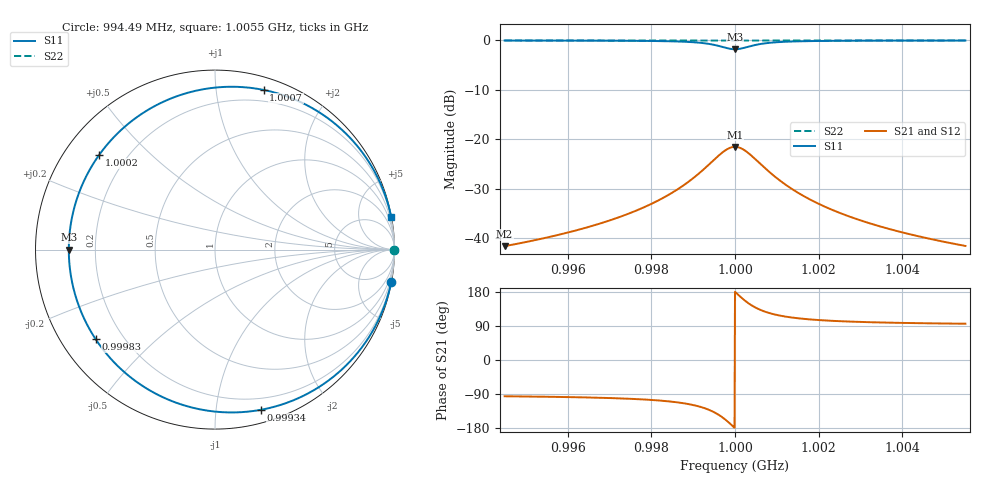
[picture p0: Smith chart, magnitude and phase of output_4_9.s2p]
! File generated for n1 = 4, n2 = 9
! b1 = 10.000000
! b2 = 0.021544
! Q0 = 10000.000000
! f0 = 1000000000.000000
! n = 1001
! rel_span = 10.000000
# Hz S RI R 50
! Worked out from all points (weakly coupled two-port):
!   1001 points, 994.49 MHz to 1.0055 GHz, reference 50 ohm
!   highest |S21| = -21.49 dB at 1 GHz (marker M1); lowest = -41.6 dB at 994.49 MHz (marker M2)
!   lowest |S11| = -1.8 dB at 1 GHz (marker M3), VSWR 9.79, Z = 5.11 + j0 ohm
!   |S11| at or under -10 dB: nowhere
!   |S22| runs from 0.0 to 0.0 dB; largest |S21 - S12| = 0
!   S11 on the Smith chart (normalised r, x): 994.49 MHz: 0, -11; 999.34 MHz: 0.10, -1.32; 999.83 MHz: 0.10, -0.33; 1.0002 GHz: 0.10, +0.35; 1.0007 GHz: 0.10, +1.34; 1.0055 GHz: 0, +11
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9.944892e8  0.9821 -0.1792  -0.000829 -0.00832  -0.000829 -0.00832  1 -0.000386
9.963298e8  0.9601 -0.266  -0.00185 -0.0123  -0.00185 -0.0123  0.9999 -0.000573
9.973769e8  0.9235 -0.3647  -0.00355 -0.0169  -0.00355 -0.0169  0.9998 -0.000786
9.981704e8  0.8493 -0.5007  -0.00699 -0.0232  -0.00699 -0.0232  0.9997 -0.00108
9.988758e8  0.6488 -0.7169  -0.0163 -0.0333  -0.0163 -0.0333  0.9992 -0.00154
9.991293e8  0.4813 -0.8199  -0.0241 -0.0381  -0.0241 -0.0381  0.9989 -0.00177
9.993387e8  0.2566 -0.8924  -0.0345 -0.0414  -0.0345 -0.0414  0.9984 -0.00192
9.996142e8  -0.2177 -0.8526  -0.0565 -0.0396  -0.0565 -0.0396  0.9974 -0.00184
9.997245e8  -0.4516 -0.7259  -0.0674 -0.0337  -0.0674 -0.0337  0.9969 -0.00156
9.998347e8  -0.6648 -0.4995  -0.0773 -0.0232  -0.0773 -0.0232  0.9964 -0.00108
1e9  -0.8146 0  -0.0842 0  -0.0842 0  0.9961 0
1.000088e9  -0.7693 0.2831  -0.0821 0.0131  -0.0821 0.0131  0.9962 0.00061
1.000176e9  -0.6461 0.5267  -0.0764 0.0244  -0.0764 0.0244  0.9965 0.00113
1.000276e9  -0.4518 0.7258  -0.0674 0.0337  -0.0674 0.0337  0.9969 0.00156
1.000386e9  -0.218 0.8525  -0.0565 0.0396  -0.0565 0.0396  0.9974 0.00184
1.000507e9  0.017 0.9041  -0.0456 0.042  -0.0456 0.042  0.9979 0.00195
1.000672e9  0.2705 0.8897  -0.0339 0.0413  -0.0339 0.0413  0.9984 0.00192
1.000882e9  0.49 0.8157  -0.0237 0.0379  -0.0237 0.0379  0.9989 0.00176
1.001135e9  0.6536 0.7131  -0.0161 0.0331  -0.0161 0.0331  0.9993 0.00154
1.001841e9  0.8505 0.499  -0.00694 0.0232  -0.00694 0.0232  0.9997 0.00108
1.003681e9  0.9601 0.2662  -0.00185 0.0124  -0.00185 0.0124  0.9999 0.000573
1.005511e9  0.9819 0.1801  -0.000838 0.00836  -0.000838 0.00836  1 0.000388
